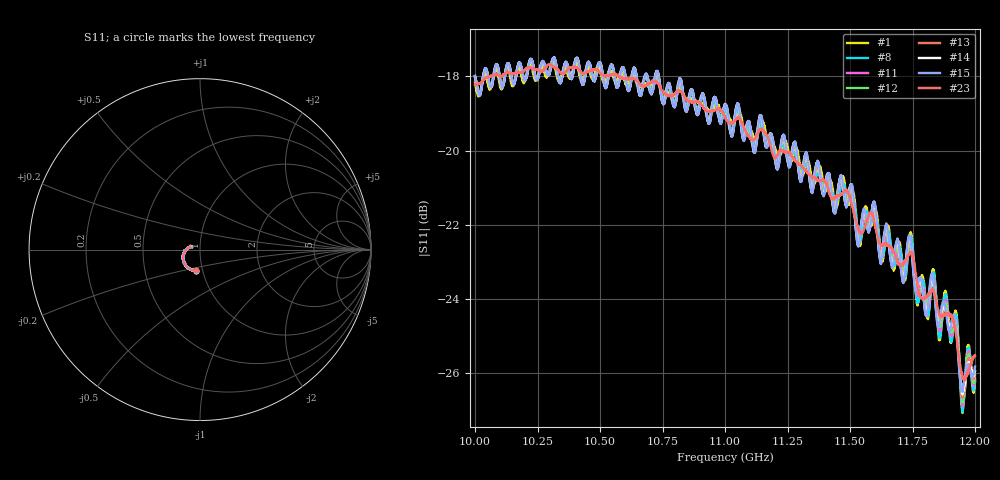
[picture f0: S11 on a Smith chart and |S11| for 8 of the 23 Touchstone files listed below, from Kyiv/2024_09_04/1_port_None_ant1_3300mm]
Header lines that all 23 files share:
[Version] 2.0
! Rohde & Schwarz Vector Network Analyzer
! Rohde-Schwarz,ZNL20-2Port,1323001220200009,1.71.1.10-23.02.1.238
! Port Assignments:
! Nominal Port -> Actual Test Port
!  1 -> 1
# Hz S DB R 50
[Number of Ports] 1
! freq[Hz]  S11[mag dB]  S11[ang]
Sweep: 10 GHz to 12 GHz
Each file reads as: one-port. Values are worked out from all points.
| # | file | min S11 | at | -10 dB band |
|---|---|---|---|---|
| 1 | 0.01.s1p | -27.1 dB | 11.95 GHz | over 2 GHz wide |
| 2 | 1.s1p | -27.1 dB | 11.95 GHz | over 2 GHz wide |
| 3 | 2.s1p | -27.1 dB | 11.95 GHz | over 2 GHz wide |
| 4 | 3.s1p | -27.1 dB | 11.95 GHz | over 2 GHz wide |
| 5 | 4.s1p | -27.1 dB | 11.95 GHz | over 2 GHz wide |
| 6 | 5.s1p | -27.1 dB | 11.95 GHz | over 2 GHz wide |
| 7 | 6.s1p | -27.1 dB | 11.95 GHz | over 2 GHz wide |
| 8 | 7.s1p | -27.0 dB | 11.95 GHz | over 2 GHz wide |
| 9 | 8.s1p | -27.0 dB | 11.95 GHz | over 2 GHz wide |
| 10 | 9.s1p | -27.0 dB | 11.95 GHz | over 2 GHz wide |
| 11 | 10.s1p | -26.9 dB | 11.95 GHz | over 2 GHz wide |
| 12 | 11.s1p | -26.8 dB | 11.95 GHz | over 2 GHz wide |
| 13 | 12.s1p | -26.7 dB | 11.95 GHz | over 2 GHz wide |
| 14 | 13.s1p | -26.6 dB | 11.95 GHz | over 2 GHz wide |
| 15 | 14.s1p | -26.5 dB | 11.95 GHz | over 2 GHz wide |
| 16 | 15.s1p | -26.6 dB | 11.95 GHz | over 2 GHz wide |
| 17 | 16.s1p | -26.7 dB | 11.95 GHz | over 2 GHz wide |
| 18 | 17.s1p | -26.8 dB | 11.95 GHz | over 2 GHz wide |
| 19 | 18.s1p | -26.9 dB | 11.95 GHz | over 2 GHz wide |
| 20 | 19.8.s1p | -27.0 dB | 11.95 GHz | over 2 GHz wide |
| 21 | 19.s1p | -26.9 dB | 11.95 GHz | over 2 GHz wide |
| 22 | metal.s1p | -27.2 dB | 11.95 GHz | over 2 GHz wide |
| 23 | noDUT.s1p | -26.2 dB | 11.96 GHz | over 2 GHz wide |
